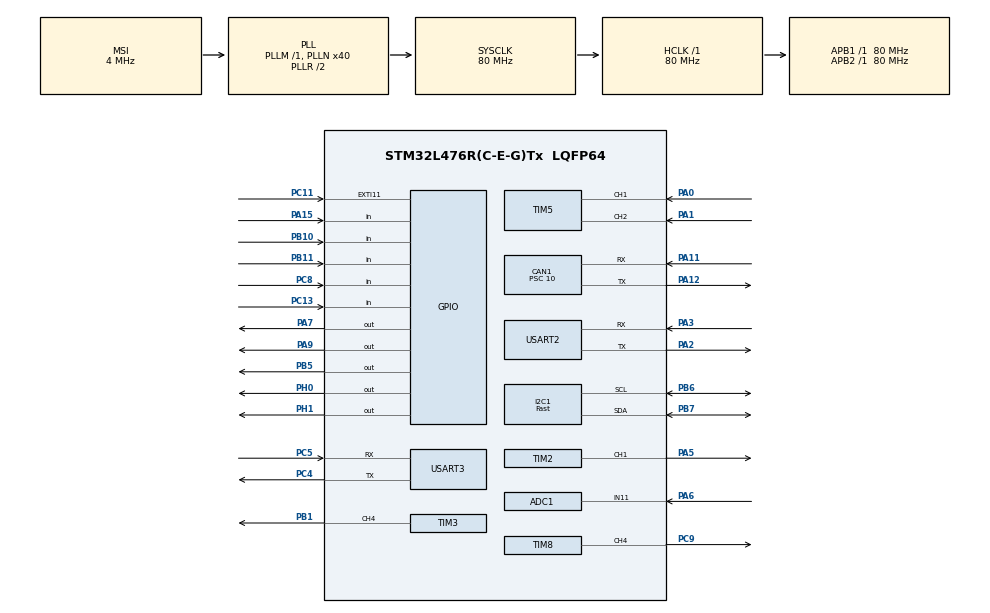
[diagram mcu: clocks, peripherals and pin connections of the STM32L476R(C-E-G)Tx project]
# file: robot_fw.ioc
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ADC1.Channel-0\#ChannelRegularConversion=ADC_CHANNEL_11
ADC1.NbrOfConversionFlag=1
ADC1.OffsetNumber-0\#ChannelRegularConversion=ADC_OFFSET_NONE
ADC1.Rank-0\#ChannelRegularConversion=1
ADC1.SamplingTime-0\#ChannelRegularConversion=ADC_SAMPLETIME_640CYCLES_5
ADC1.master=1
CAN1.BS1=CAN_BS1_13TQ
CAN1.BS2=CAN_BS2_2TQ
CAN1.CalculateBaudRate=500000
CAN1.CalculateTimeBit=2000
CAN1.CalculateTimeQuantum=125.0
CAN1.Mode=CAN_MODE_LOOPBACK
CAN1.Prescaler=10
Dma.Request0=USART2_RX
Dma.Request1=USART2_TX
Dma.USART2_RX.0.Direction=DMA_PERIPH_TO_MEMORY
Dma.USART2_RX.0.Instance=DMA1_Channel6
Dma.USART2_RX.0.MemDataAlignment=DMA_MDATAALIGN_BYTE
Dma.USART2_RX.0.MemInc=DMA_MINC_ENABLE
Dma.USART2_RX.0.Mode=DMA_CIRCULAR
Dma.USART2_RX.0.PeriphDataAlignment=DMA_PDATAALIGN_BYTE
Dma.USART2_RX.0.PeriphInc=DMA_PINC_DISABLE
Dma.USART2_RX.0.Priority=DMA_PRIORITY_VERY_HIGH
Dma.USART2_TX.1.Direction=DMA_MEMORY_TO_PERIPH
Dma.USART2_TX.1.Instance=DMA1_Channel7
Dma.USART2_TX.1.MemDataAlignment=DMA_MDATAALIGN_BYTE
Dma.USART2_TX.1.MemInc=DMA_MINC_ENABLE
Dma.USART2_TX.1.Mode=DMA_NORMAL
Dma.USART2_TX.1.PeriphDataAlignment=DMA_PDATAALIGN_BYTE
Dma.USART2_TX.1.PeriphInc=DMA_PINC_DISABLE
Dma.USART2_TX.1.Priority=DMA_PRIORITY_VERY_HIGH
FREERTOS.Tasks01=defaultTask,24,3000,StartDefaultTask,Default,NULL,Dynamic,NULL,NULL
FREERTOS.configTOTAL_HEAP_SIZE=28000
I2C1.I2C_Speed_Mode=I2C_Fast
I2C1.Timing=0x00F12981
IWDG.Prescaler=IWDG_PRESCALER_32
IWDG.Reload=499
Mcu.Family=STM32L4
Mcu.Name=STM32L476R(C-E-G)Tx
Mcu.Package=LQFP64
NVIC.CAN1_RX0_IRQn=true\:5\:0\:false\:false\:true\:true\:true\:true\:true
NVIC.DMA1_Channel6_IRQn=true\:5\:0\:false\:false\:true\:true\:false\:true\:true
NVIC.DMA1_Channel7_IRQn=true\:5\:0\:false\:false\:true\:true\:false\:true\:true
NVIC.EXTI15_10_IRQn=true\:5\:0\:false\:false\:true\:true\:true\:true\:true
NVIC.PriorityGroup=NVIC_PRIORITYGROUP_4
NVIC.TIM6_DAC_IRQn=true\:5\:0\:false\:false\:true\:true\:true\:true\:true
NVIC.TIM7_IRQn=true\:15\:0\:false\:false\:true\:false\:false\:true\:true
NVIC.TimeBase=TIM7_IRQn
NVIC.TimeBaseIP=TIM7
NVIC.USART2_IRQn=true\:5\:0\:false\:false\:true\:true\:true\:true\:true
NVIC.USART3_IRQn=true\:5\:0\:false\:false\:true\:true\:true\:true\:true
PA0.Signal=S_TIM5_CH1
PA1.Signal=S_TIM5_CH2
PA11.Mode=CAN_Activate
PA11.Signal=CAN1_RX
PA12.Mode=CAN_Activate
PA12.Signal=CAN1_TX
PA15\ (JTDI).GPIO_PuPd=GPIO_PULLUP
PA15\ (JTDI).Signal=GPIO_Input
PA2.Mode=Asynchronous
PA2.Signal=USART2_TX
PA3.Mode=Asynchronous
PA3.Signal=USART2_RX
PA5.Signal=S_TIM2_CH1
PA6.Signal=ADCx_IN11
PA7.Signal=GPIO_Output
PA9.Signal=GPIO_Output
PB1.Signal=S_TIM3_CH4
PB10.Signal=GPIO_Input
PB11.GPIO_PuPd=GPIO_PULLUP
PB11.Signal=GPIO_Input
PB5.Signal=GPIO_Output
PB6.Mode=I2C
PB6.Signal=I2C1_SCL
PB7.Mode=I2C
PB7.Signal=I2C1_SDA
PC11.GPIO_ModeDefaultEXTI=GPIO_MODE_IT_FALLING
PC11.Signal=GPXTI11
PC13.Signal=GPIO_Input
PC4.Mode=Asynchronous
PC4.Signal=USART3_TX
PC5.Mode=Asynchronous
PC5.Signal=USART3_RX
PC8.Signal=GPIO_Input
PC9.Signal=S_TIM8_CH4
PH0-OSC_IN\ (PH0).Signal=GPIO_Output
PH1-OSC_OUT\ (PH1).Signal=GPIO_Output
ProjectManager.HeapSize=0x200
ProjectManager.StackSize=0x400
ProjectManager.TargetToolchain=STM32CubeIDE
RCC.ADCFreq_Value=32000000
RCC.AHBFreq_Value=80000000
RCC.APB1Freq_Value=80000000
RCC.APB1TimFreq_Value=80000000
RCC.APB2Freq_Value=80000000
RCC.APB2TimFreq_Value=80000000
RCC.CortexFreq_Value=80000000
RCC.HCLKFreq_Value=80000000
RCC.HSE_VALUE=8000000
RCC.HSI_VALUE=16000000
RCC.LSE_VALUE=32768
RCC.MSI_VALUE=4000000
RCC.PLLN=40
RCC.PLLSAI1N=16
RCC.SYSCLKFreq_VALUE=80000000
RCC.SYSCLKSource=RCC_SYSCLKSOURCE_PLLCLK
RCC.USBFreq_Value=32000000
RCC.VCOOutputFreq_Value=160000000
SH.ADCx_IN11.0=ADC1_IN11,IN11-Single-Ended
SH.S_TIM2_CH1.0=TIM2_CH1,PWM Generation1 CH1
SH.S_TIM3_CH4.0=TIM3_CH4,PWM Generation4 CH4
SH.S_TIM5_CH1.0=TIM5_CH1,Encoder_Interface
SH.S_TIM5_CH2.0=TIM5_CH2,Encoder_Interface
SH.S_TIM8_CH4.0=TIM8_CH4,PWM Generation4 CH4
TIM2.Channel-PWM\ Generation1\ CH1=TIM_CHANNEL_1
TIM2.Period=3999
TIM3.Channel-PWM\ Generation4\ CH4=TIM_CHANNEL_4
TIM3.Period=999
TIM3.Prescaler=79
TIM5.EncoderMode=TIM_ENCODERMODE_TI12
TIM6.Period=99
TIM6.Prescaler=7999
TIM8.Channel-PWM\ Generation4\ CH4=TIM_CHANNEL_4
TIM8.Period=369
TIM8.Prescaler=79
TIM8.Pulse-PWM\ Generation4\ CH4=185
USART2.VirtualMode-Asynchronous=VM_ASYNC
USART3.VirtualMode-Asynchronous=VM_ASYNC
VP_FREERTOS_VS_CMSIS_V2.Mode=CMSIS_V2
VP_IWDG_VS_IWDG.Mode=IWDG_Activate
VP_SYS_VS_tim7.Mode=TIM7
VP_TIM2_VS_ClockSourceINT.Mode=Internal
VP_TIM6_VS_ClockSourceINT.Mode=Enable_Timer
board=custom

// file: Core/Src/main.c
/* USER CODE BEGIN Header */
/**
  ******************************************************************************
  * @file           : main.c
  * @brief          : Main program body
  ******************************************************************************
  * @attention
  *
  * Copyright (c) 2026 STMicroelectronics.
  * All rights reserved.
  *
  * This software is licensed under terms that can be found in the LICENSE file
  * in the root directory of this software component.
  * If no LICENSE file comes with this software, it is provided AS-IS.
  *
  ******************************************************************************
  */
/* USER CODE END Header */
#include "main.h"
#include "cmsis_os.h"

/* USER CODE BEGIN Includes */
#include <stdio.h>
#include "treuil.h"
#include "board.h"
#include "batterie.h"
#include "signal.h"
#include "can_bus.h"
#include "plafond.h"

#include <rcl/rcl.h>
#include <rclc/rclc.h>
#include <rmw_microros/rmw_microros.h>
#include <uxr/client/transport.h>
#include <std_msgs/msg/int32.h>

#include <rclc/executor.h>
#include <std_msgs/msg/float32.h>
#include <std_msgs/msg/empty.h>

/* USER CODE END Includes */

ADC_HandleTypeDef hadc1;

CAN_HandleTypeDef hcan1;

I2C_HandleTypeDef hi2c1;

IWDG_HandleTypeDef hiwdg;

TIM_HandleTypeDef htim2;
TIM_HandleTypeDef htim3;
TIM_HandleTypeDef htim5;
TIM_HandleTypeDef htim6;
TIM_HandleTypeDef htim8;

UART_HandleTypeDef huart2;
UART_HandleTypeDef huart3;
DMA_HandleTypeDef hdma_usart2_rx;
DMA_HandleTypeDef hdma_usart2_tx;

/* Definitions for defaultTask */
osThreadId_t defaultTaskHandle;
const osThreadAttr_t defaultTask_attributes = {
  .name = "defaultTask",
  .stack_size = 3000 * 4,
  .priority = (osPriority_t) osPriorityNormal,
};
/* USER CODE BEGIN PV */
volatile uint32_t tours = 0;

/* USER CODE END PV */

void SystemClock_Config(void);
static void MX_GPIO_Init(void);
static void MX_DMA_Init(void);
static void MX_USART2_UART_Init(void);
static void MX_TIM2_Init(void);
static void MX_TIM5_Init(void);
static void MX_TIM6_Init(void);
static void MX_ADC1_Init(void);
static void MX_TIM3_Init(void);
static void MX_TIM8_Init(void);
static void MX_IWDG_Init(void);
static void MX_CAN1_Init(void);
static void MX_I2C1_Init(void);
static void MX_USART3_UART_Init(void);
void StartDefaultTask(void *argument);

/* USER CODE BEGIN 0 */
extern volatile uint32_t nb_maj;

extern volatile int plafond_err_init;
extern volatile uint32_t plafond_nb_irq;
extern volatile int plafond_statut;

static void envoyer_position(void){
	char buf[32];
	int n = snprintf(buf, sizeof(buf), "pos=%ld\r\n", (long)treuil_position());
	HAL_UART_Transmit(&huart2, (uint8_t *)buf, n, 100);
}

static void cb_cible(const void *m)
{
  const std_msgs__msg__Int32 *c = (const std_msgs__msg__Int32 *)m;
  treuil_aller_a(c->data);
}

static void cb_acquitter(const void *m)
{
  (void)m;
  treuil_acquitter();
}

bool cubemx_transport_open(struct uxrCustomTransport *transport);
bool cubemx_transport_close(struct uxrCustomTransport *transport);
size_t cubemx_transport_write(struct uxrCustomTransport *transport, const uint8_t *buf, size_t len, uint8_t *err);
size_t cubemx_transport_read(struct uxrCustomTransport *transport, uint8_t *buf, size_t len, int timeout, uint8_t *err);

void *microros_allocate(size_t size, void *state);
void microros_deallocate(void *pointer, void *state);
void *microros_reallocate(void *pointer, size_t size, void *state);
void *microros_zero_allocate(size_t number_of_elements, size_t size_of_element, void *state);

/* USER CODE END 0 */

int main(void)
{

  /* MCU Configuration--------------------------------------------------------*/

  /* Reset of all peripherals, Initializes the Flash interface and the Systick. */
  HAL_Init();

  /* Configure the system clock */
  SystemClock_Config();

  /* Initialize all configured peripherals */
  MX_GPIO_Init();
  MX_DMA_Init();
  MX_USART2_UART_Init();
  MX_TIM2_Init();
  MX_TIM5_Init();
  MX_TIM6_Init();
  MX_ADC1_Init();
  MX_TIM3_Init();
  MX_TIM8_Init();
  MX_IWDG_Init();
  MX_CAN1_Init();
  MX_I2C1_Init();
  MX_USART3_UART_Init();
  /* USER CODE BEGIN 2 */
  treuil_init();
  batterie_init();
  signal_init();
  can_init();
  plafond_init();

  HAL_TIM_Base_Start_IT(&htim6);

  /* USER CODE END 2 */

  /* Init scheduler */
  osKernelInitialize();

  /* Create the thread(s) */
  /* creation of defaultTask */
  defaultTaskHandle = osThreadNew(StartDefaultTask, NULL, &defaultTask_attributes);

  /* USER CODE BEGIN RTOS_THREADS */

  // tache non creee : manque de memoire, on fait sonner le buzzer
  if (defaultTaskHandle == NULL) signal_buzzer(1);
  /* add threads, ... */
  /* USER CODE END RTOS_THREADS */

  /* Start scheduler */
  osKernelStart();

  /* We should never get here as control is now taken by the scheduler */

  /* Infinite loop */
  while (1)
  {

    /* USER CODE BEGIN 3 */
	    HAL_IWDG_Refresh(&hiwdg);

	    // une seule commande au premier tour
	    static int lance = 0;
	    if (!lance) {
	      treuil_aller_a(15000);
	      lance = 1;
	    }

	    char buf[48];
	    int n = snprintf(buf, sizeof(buf), "pos=%ld err=%d d=%u\r\n",
	                     (long)treuil_position(), (int)treuil_erreur(),
	                     plafond_distance_mm());
	    HAL_UART_Transmit(&huart2, (uint8_t *)buf, n, 100);
	    HAL_Delay(250);
	  }
  /* USER CODE END 3 */
}

void SystemClock_Config(void)
{
  RCC_OscInitTypeDef RCC_OscInitStruct = {0};
  RCC_ClkInitTypeDef RCC_ClkInitStruct = {0};

  /** Configure the main internal regulator output voltage
  */
  if (HAL_PWREx_ControlVoltageScaling(PWR_REGULATOR_VOLTAGE_SCALE1) != HAL_OK)
  {
    Error_Handler();
  }

  /** Initializes the RCC Oscillators according to the specified parameters
  * in the RCC_OscInitTypeDef structure.
  */
  RCC_OscInitStruct.OscillatorType = RCC_OSCILLATORTYPE_LSI|RCC_OSCILLATORTYPE_MSI;
  RCC_OscInitStruct.LSIState = RCC_LSI_ON;
  RCC_OscInitStruct.MSIState = RCC_MSI_ON;
  RCC_OscInitStruct.MSICalibrationValue = 0;
  RCC_OscInitStruct.MSIClockRange = RCC_MSIRANGE_6;
  RCC_OscInitStruct.PLL.PLLState = RCC_PLL_ON;
  RCC_OscInitStruct.PLL.PLLSource = RCC_PLLSOURCE_MSI;
  RCC_OscInitStruct.PLL.PLLM = 1;
  RCC_OscInitStruct.PLL.PLLN = 40;
  RCC_OscInitStruct.PLL.PLLP = RCC_PLLP_DIV7;
  RCC_OscInitStruct.PLL.PLLQ = RCC_PLLQ_DIV2;
  RCC_OscInitStruct.PLL.PLLR = RCC_PLLR_DIV2;
  if (HAL_RCC_OscConfig(&RCC_OscInitStruct) != HAL_OK)
  {
    Error_Handler();
  }

  /** Initializes the CPU, AHB and APB buses clocks
  */
  RCC_ClkInitStruct.ClockType = RCC_CLOCKTYPE_HCLK|RCC_CLOCKTYPE_SYSCLK
                              |RCC_CLOCKTYPE_PCLK1|RCC_CLOCKTYPE_PCLK2;
  RCC_ClkInitStruct.SYSCLKSource = RCC_SYSCLKSOURCE_PLLCLK;
  RCC_ClkInitStruct.AHBCLKDivider = RCC_SYSCLK_DIV1;
  RCC_ClkInitStruct.APB1CLKDivider = RCC_HCLK_DIV1;
  RCC_ClkInitStruct.APB2CLKDivider = RCC_HCLK_DIV1;

  if (HAL_RCC_ClockConfig(&RCC_ClkInitStruct, FLASH_LATENCY_4) != HAL_OK)
  {
    Error_Handler();
  }
}

static void MX_ADC1_Init(void)
{

  ADC_MultiModeTypeDef multimode = {0};
  ADC_ChannelConfTypeDef sConfig = {0};

  /** Common config
  */
  hadc1.Instance = ADC1;
  hadc1.Init.ClockPrescaler = ADC_CLOCK_ASYNC_DIV1;
  hadc1.Init.Resolution = ADC_RESOLUTION_12B;
  hadc1.Init.DataAlign = ADC_DATAALIGN_RIGHT;
  hadc1.Init.ScanConvMode = ADC_SCAN_DISABLE;
  hadc1.Init.EOCSelection = ADC_EOC_SINGLE_CONV;
  hadc1.Init.LowPowerAutoWait = DISABLE;
  hadc1.Init.ContinuousConvMode = DISABLE;
  hadc1.Init.NbrOfConversion = 1;
  hadc1.Init.DiscontinuousConvMode = DISABLE;
  hadc1.Init.ExternalTrigConv = ADC_SOFTWARE_START;
  hadc1.Init.ExternalTrigConvEdge = ADC_EXTERNALTRIGCONVEDGE_NONE;
  hadc1.Init.DMAContinuousRequests = DISABLE;
  hadc1.Init.Overrun = ADC_OVR_DATA_PRESERVED;
  hadc1.Init.OversamplingMode = DISABLE;
  if (HAL_ADC_Init(&hadc1) != HAL_OK)
  {
    Error_Handler();
  }

  /** Configure the ADC multi-mode
  */
  multimode.Mode = ADC_MODE_INDEPENDENT;
  if (HAL_ADCEx_MultiModeConfigChannel(&hadc1, &multimode) != HAL_OK)
  {
    Error_Handler();
  }

  /** Configure Regular Channel
  */
  sConfig.Channel = ADC_CHANNEL_11;
  sConfig.Rank = ADC_REGULAR_RANK_1;
  sConfig.SamplingTime = ADC_SAMPLETIME_640CYCLES_5;
  sConfig.SingleDiff = ADC_SINGLE_ENDED;
  sConfig.OffsetNumber = ADC_OFFSET_NONE;
  sConfig.Offset = 0;
  if (HAL_ADC_ConfigChannel(&hadc1, &sConfig) != HAL_OK)
  {
    Error_Handler();
  }

}

static void MX_CAN1_Init(void)
{

  hcan1.Instance = CAN1;
  hcan1.Init.Prescaler = 10;
  hcan1.Init.Mode = CAN_MODE_LOOPBACK;
  hcan1.Init.SyncJumpWidth = CAN_SJW_1TQ;
  hcan1.Init.TimeSeg1 = CAN_BS1_13TQ;
  hcan1.Init.TimeSeg2 = CAN_BS2_2TQ;
  hcan1.Init.TimeTriggeredMode = DISABLE;
  hcan1.Init.AutoBusOff = DISABLE;
  hcan1.Init.AutoWakeUp = DISABLE;
  hcan1.Init.AutoRetransmission = DISABLE;
  hcan1.Init.ReceiveFifoLocked = DISABLE;
  hcan1.Init.TransmitFifoPriority = DISABLE;
  if (HAL_CAN_Init(&hcan1) != HAL_OK)
  {
    Error_Handler();
  }

}

static void MX_I2C1_Init(void)
{

  hi2c1.Instance = I2C1;
  hi2c1.Init.Timing = 0x00F12981;
  hi2c1.Init.OwnAddress1 = 0;
  hi2c1.Init.AddressingMode = I2C_ADDRESSINGMODE_7BIT;
  hi2c1.Init.DualAddressMode = I2C_DUALADDRESS_DISABLE;
  hi2c1.Init.OwnAddress2 = 0;
  hi2c1.Init.OwnAddress2Masks = I2C_OA2_NOMASK;
  hi2c1.Init.GeneralCallMode = I2C_GENERALCALL_DISABLE;
  hi2c1.Init.NoStretchMode = I2C_NOSTRETCH_DISABLE;
  if (HAL_I2C_Init(&hi2c1) != HAL_OK)
  {
    Error_Handler();
  }

  /** Configure Analogue filter
  */
  if (HAL_I2CEx_ConfigAnalogFilter(&hi2c1, I2C_ANALOGFILTER_ENABLE) != HAL_OK)
  {
    Error_Handler();
  }

  /** Configure Digital filter
  */
  if (HAL_I2CEx_ConfigDigitalFilter(&hi2c1, 0) != HAL_OK)
  {
    Error_Handler();
  }

}

static void MX_IWDG_Init(void)
{

  hiwdg.Instance = IWDG;
  hiwdg.Init.Prescaler = IWDG_PRESCALER_32;
  hiwdg.Init.Window = 4095;
  hiwdg.Init.Reload = 499;
  if (HAL_IWDG_Init(&hiwdg) != HAL_OK)
  {
    Error_Handler();
  }

}

static void MX_TIM2_Init(void)
{

  TIM_ClockConfigTypeDef sClockSourceConfig = {0};
  TIM_MasterConfigTypeDef sMasterConfig = {0};
  TIM_OC_InitTypeDef sConfigOC = {0};

  htim2.Instance = TIM2;
  htim2.Init.Prescaler = 0;
  htim2.Init.CounterMode = TIM_COUNTERMODE_UP;
  htim2.Init.Period = 3999;
  htim2.Init.ClockDivision = TIM_CLOCKDIVISION_DIV1;
  htim2.Init.AutoReloadPreload = TIM_AUTORELOAD_PRELOAD_DISABLE;
  if (HAL_TIM_Base_Init(&htim2) != HAL_OK)
  {
    Error_Handler();
  }
  sClockSourceConfig.ClockSource = TIM_CLOCKSOURCE_INTERNAL;
  if (HAL_TIM_ConfigClockSource(&htim2, &sClockSourceConfig) != HAL_OK)
  {
    Error_Handler();
  }
  if (HAL_TIM_PWM_Init(&htim2) != HAL_OK)
  {
    Error_Handler();
  }
  sMasterConfig.MasterOutputTrigger = TIM_TRGO_RESET;
  sMasterConfig.MasterSlaveMode = TIM_MASTERSLAVEMODE_DISABLE;
  if (HAL_TIMEx_MasterConfigSynchronization(&htim2, &sMasterConfig) != HAL_OK)
  {
    Error_Handler();
  }
  sConfigOC.OCMode = TIM_OCMODE_PWM1;
  sConfigOC.Pulse = 0;
  sConfigOC.OCPolarity = TIM_OCPOLARITY_HIGH;
  sConfigOC.OCFastMode = TIM_OCFAST_DISABLE;
  if (HAL_TIM_PWM_ConfigChannel(&htim2, &sConfigOC, TIM_CHANNEL_1) != HAL_OK)
  {
    Error_Handler();
  }
  HAL_TIM_MspPostInit(&htim2);

}

static void MX_TIM3_Init(void)
{

  TIM_MasterConfigTypeDef sMasterConfig = {0};
  TIM_OC_InitTypeDef sConfigOC = {0};

  htim3.Instance = TIM3;
  htim3.Init.Prescaler = 79;
  htim3.Init.CounterMode = TIM_COUNTERMODE_UP;
  htim3.Init.Period = 999;
  htim3.Init.ClockDivision = TIM_CLOCKDIVISION_DIV1;
  htim3.Init.AutoReloadPreload = TIM_AUTORELOAD_PRELOAD_DISABLE;
  if (HAL_TIM_PWM_Init(&htim3) != HAL_OK)
  {
    Error_Handler();
  }
  sMasterConfig.MasterOutputTrigger = TIM_TRGO_RESET;
  sMasterConfig.MasterSlaveMode = TIM_MASTERSLAVEMODE_DISABLE;
  if (HAL_TIMEx_MasterConfigSynchronization(&htim3, &sMasterConfig) != HAL_OK)
  {
    Error_Handler();
  }
  sConfigOC.OCMode = TIM_OCMODE_PWM1;
  sConfigOC.Pulse = 0;
  sConfigOC.OCPolarity = TIM_OCPOLARITY_HIGH;
  sConfigOC.OCFastMode = TIM_OCFAST_DISABLE;
  if (HAL_TIM_PWM_ConfigChannel(&htim3, &sConfigOC, TIM_CHANNEL_4) != HAL_OK)
  {
    Error_Handler();
  }
  HAL_TIM_MspPostInit(&htim3);

}

static void MX_TIM5_Init(void)
{

  TIM_Encoder_InitTypeDef sConfig = {0};
  TIM_MasterConfigTypeDef sMasterConfig = {0};

  htim5.Instance = TIM5;
  htim5.Init.Prescaler = 0;
  htim5.Init.CounterMode = TIM_COUNTERMODE_UP;
  htim5.Init.Period = 4294967295;
  htim5.Init.ClockDivision = TIM_CLOCKDIVISION_DIV1;
  htim5.Init.AutoReloadPreload = TIM_AUTORELOAD_PRELOAD_DISABLE;
  sConfig.EncoderMode = TIM_ENCODERMODE_TI12;
  sConfig.IC1Polarity = TIM_ICPOLARITY_RISING;
  sConfig.IC1Selection = TIM_ICSELECTION_DIRECTTI;
  sConfig.IC1Prescaler = TIM_ICPSC_DIV1;
  sConfig.IC1Filter = 0;
  sConfig.IC2Polarity = TIM_ICPOLARITY_RISING;
  sConfig.IC2Selection = TIM_ICSELECTION_DIRECTTI;
  sConfig.IC2Prescaler = TIM_ICPSC_DIV1;
  sConfig.IC2Filter = 0;
  if (HAL_TIM_Encoder_Init(&htim5, &sConfig) != HAL_OK)
  {
    Error_Handler();
  }
  sMasterConfig.MasterOutputTrigger = TIM_TRGO_RESET;
  sMasterConfig.MasterSlaveMode = TIM_MASTERSLAVEMODE_DISABLE;
  if (HAL_TIMEx_MasterConfigSynchronization(&htim5, &sMasterConfig) != HAL_OK)
  {
    Error_Handler();
  }

}

static void MX_TIM6_Init(void)
{

  TIM_MasterConfigTypeDef sMasterConfig = {0};

  htim6.Instance = TIM6;
  htim6.Init.Prescaler = 7999;
  htim6.Init.CounterMode = TIM_COUNTERMODE_UP;
  htim6.Init.Period = 99;
  htim6.Init.AutoReloadPreload = TIM_AUTORELOAD_PRELOAD_DISABLE;
  if (HAL_TIM_Base_Init(&htim6) != HAL_OK)
  {
    Error_Handler();
  }
  sMasterConfig.MasterOutputTrigger = TIM_TRGO_RESET;
  sMasterConfig.MasterSlaveMode = TIM_MASTERSLAVEMODE_DISABLE;
  if (HAL_TIMEx_MasterConfigSynchronization(&htim6, &sMasterConfig) != HAL_OK)
  {
    Error_Handler();
  }

}

static void MX_TIM8_Init(void)
{

  TIM_MasterConfigTypeDef sMasterConfig = {0};
  TIM_OC_InitTypeDef sConfigOC = {0};
  TIM_BreakDeadTimeConfigTypeDef sBreakDeadTimeConfig = {0};

  htim8.Instance = TIM8;
  htim8.Init.Prescaler = 79;
  htim8.Init.CounterMode = TIM_COUNTERMODE_UP;
  htim8.Init.Period = 369;
  htim8.Init.ClockDivision = TIM_CLOCKDIVISION_DIV1;
  htim8.Init.RepetitionCounter = 0;
  htim8.Init.AutoReloadPreload = TIM_AUTORELOAD_PRELOAD_DISABLE;
  if (HAL_TIM_PWM_Init(&htim8) != HAL_OK)
  {
    Error_Handler();
  }
  sMasterConfig.MasterOutputTrigger = TIM_TRGO_RESET;
  sMasterConfig.MasterOutputTrigger2 = TIM_TRGO2_RESET;
  sMasterConfig.MasterSlaveMode = TIM_MASTERSLAVEMODE_DISABLE;
  if (HAL_TIMEx_MasterConfigSynchronization(&htim8, &sMasterConfig) != HAL_OK)
  {
    Error_Handler();
  }
  sConfigOC.OCMode = TIM_OCMODE_PWM1;
  sConfigOC.Pulse = 185;
  sConfigOC.OCPolarity = TIM_OCPOLARITY_HIGH;
  sConfigOC.OCFastMode = TIM_OCFAST_DISABLE;
  sConfigOC.OCIdleState = TIM_OCIDLESTATE_RESET;
  sConfigOC.OCNIdleState = TIM_OCNIDLESTATE_RESET;
  if (HAL_TIM_PWM_ConfigChannel(&htim8, &sConfigOC, TIM_CHANNEL_4) != HAL_OK)
  {
    Error_Handler();
  }
  sBreakDeadTimeConfig.OffStateRunMode = TIM_OSSR_DISABLE;
  sBreakDeadTimeConfig.OffStateIDLEMode = TIM_OSSI_DISABLE;
  sBreakDeadTimeConfig.LockLevel = TIM_LOCKLEVEL_OFF;
  sBreakDeadTimeConfig.DeadTime = 0;
  sBreakDeadTimeConfig.BreakState = TIM_BREAK_DISABLE;
  sBreakDeadTimeConfig.BreakPolarity = TIM_BREAKPOLARITY_HIGH;
  sBreakDeadTimeConfig.BreakFilter = 0;
  sBreakDeadTimeConfig.Break2State = TIM_BREAK2_DISABLE;
  sBreakDeadTimeConfig.Break2Polarity = TIM_BREAK2POLARITY_HIGH;
  sBreakDeadTimeConfig.Break2Filter = 0;
  sBreakDeadTimeConfig.AutomaticOutput = TIM_AUTOMATICOUTPUT_DISABLE;
  if (HAL_TIMEx_ConfigBreakDeadTime(&htim8, &sBreakDeadTimeConfig) != HAL_OK)
  {
    Error_Handler();
  }
  HAL_TIM_MspPostInit(&htim8);

}

static void MX_USART2_UART_Init(void)
{

  huart2.Instance = USART2;
  huart2.Init.BaudRate = 115200;
  huart2.Init.WordLength = UART_WORDLENGTH_8B;
  huart2.Init.StopBits = UART_STOPBITS_1;
  huart2.Init.Parity = UART_PARITY_NONE;
  huart2.Init.Mode = UART_MODE_TX_RX;
  huart2.Init.HwFlowCtl = UART_HWCONTROL_NONE;
  huart2.Init.OverSampling = UART_OVERSAMPLING_16;
  huart2.Init.OneBitSampling = UART_ONE_BIT_SAMPLE_DISABLE;
  huart2.AdvancedInit.AdvFeatureInit = UART_ADVFEATURE_NO_INIT;
  if (HAL_UART_Init(&huart2) != HAL_OK)
  {
    Error_Handler();
  }

}

static void MX_USART3_UART_Init(void)
{

  huart3.Instance = USART3;
  huart3.Init.BaudRate = 115200;
  huart3.Init.WordLength = UART_WORDLENGTH_8B;
  huart3.Init.StopBits = UART_STOPBITS_1;
  huart3.Init.Parity = UART_PARITY_NONE;
  huart3.Init.Mode = UART_MODE_TX_RX;
  huart3.Init.HwFlowCtl = UART_HWCONTROL_NONE;
  huart3.Init.OverSampling = UART_OVERSAMPLING_16;
  huart3.Init.OneBitSampling = UART_ONE_BIT_SAMPLE_DISABLE;
  huart3.AdvancedInit.AdvFeatureInit = UART_ADVFEATURE_NO_INIT;
  if (HAL_UART_Init(&huart3) != HAL_OK)
  {
    Error_Handler();
  }

}

static void MX_DMA_Init(void)
{

  /* DMA controller clock enable */
  __HAL_RCC_DMA1_CLK_ENABLE();

  /* DMA interrupt init */
  /* DMA1_Channel6_IRQn interrupt configuration */
  HAL_NVIC_SetPriority(DMA1_Channel6_IRQn, 5, 0);
  HAL_NVIC_EnableIRQ(DMA1_Channel6_IRQn);
  /* DMA1_Channel7_IRQn interrupt configuration */
  HAL_NVIC_SetPriority(DMA1_Channel7_IRQn, 5, 0);
  HAL_NVIC_EnableIRQ(DMA1_Channel7_IRQn);

}

static void MX_GPIO_Init(void)
{
  GPIO_InitTypeDef GPIO_InitStruct = {0};

  /* GPIO Ports Clock Enable */
  __HAL_RCC_GPIOC_CLK_ENABLE();
  __HAL_RCC_GPIOH_CLK_ENABLE();
  __HAL_RCC_GPIOA_CLK_ENABLE();
  __HAL_RCC_GPIOB_CLK_ENABLE();

  /*Configure GPIO pin Output Level */
  HAL_GPIO_WritePin(GPIOH, GPIO_PIN_0|GPIO_PIN_1, GPIO_PIN_RESET);

  /*Configure GPIO pin Output Level */
  HAL_GPIO_WritePin(GPIOA, GPIO_PIN_7|GPIO_PIN_9, GPIO_PIN_RESET);

  /*Configure GPIO pin Output Level */
  HAL_GPIO_WritePin(GPIOB, GPIO_PIN_5, GPIO_PIN_RESET);

  /*Configure GPIO pins : PC13 PC8 */
  GPIO_InitStruct.Pin = GPIO_PIN_13|GPIO_PIN_8;
  GPIO_InitStruct.Mode = GPIO_MODE_INPUT;
  GPIO_InitStruct.Pull = GPIO_NOPULL;
  HAL_GPIO_Init(GPIOC, &GPIO_InitStruct);

  /*Configure GPIO pins : PH0 PH1 */
  GPIO_InitStruct.Pin = GPIO_PIN_0|GPIO_PIN_1;
  GPIO_InitStruct.Mode = GPIO_MODE_OUTPUT_PP;
  GPIO_InitStruct.Pull = GPIO_NOPULL;
  GPIO_InitStruct.Speed = GPIO_SPEED_FREQ_LOW;
  HAL_GPIO_Init(GPIOH, &GPIO_InitStruct);

  /*Configure GPIO pins : PA7 PA9 */
  GPIO_InitStruct.Pin = GPIO_PIN_7|GPIO_PIN_9;
  GPIO_InitStruct.Mode = GPIO_MODE_OUTPUT_PP;
  GPIO_InitStruct.Pull = GPIO_NOPULL;
  GPIO_InitStruct.Speed = GPIO_SPEED_FREQ_LOW;
  HAL_GPIO_Init(GPIOA, &GPIO_InitStruct);

  /*Configure GPIO pin : PB10 */
  GPIO_InitStruct.Pin = GPIO_PIN_10;
  GPIO_InitStruct.Mode = GPIO_MODE_INPUT;
  GPIO_InitStruct.Pull = GPIO_NOPULL;
  HAL_GPIO_Init(GPIOB, &GPIO_InitStruct);

  /*Configure GPIO pin : PB11 */
  GPIO_InitStruct.Pin = GPIO_PIN_11;
  GPIO_InitStruct.Mode = GPIO_MODE_INPUT;
  GPIO_InitStruct.Pull = GPIO_PULLUP;
  HAL_GPIO_Init(GPIOB, &GPIO_InitStruct);

  /*Configure GPIO pin : PA15 */
  GPIO_InitStruct.Pin = GPIO_PIN_15;
  GPIO_InitStruct.Mode = GPIO_MODE_INPUT;
  GPIO_InitStruct.Pull = GPIO_PULLUP;
  HAL_GPIO_Init(GPIOA, &GPIO_InitStruct);

  /*Configure GPIO pin : PC11 */
  GPIO_InitStruct.Pin = GPIO_PIN_11;
  GPIO_InitStruct.Mode = GPIO_MODE_IT_FALLING;
  GPIO_InitStruct.Pull = GPIO_NOPULL;
  HAL_GPIO_Init(GPIOC, &GPIO_InitStruct);

  /*Configure GPIO pin : PB5 */
  GPIO_InitStruct.Pin = GPIO_PIN_5;
  GPIO_InitStruct.Mode = GPIO_MODE_OUTPUT_PP;
  GPIO_InitStruct.Pull = GPIO_NOPULL;
  GPIO_InitStruct.Speed = GPIO_SPEED_FREQ_LOW;
  HAL_GPIO_Init(GPIOB, &GPIO_InitStruct);

  /* EXTI interrupt init*/
  HAL_NVIC_SetPriority(EXTI15_10_IRQn, 5, 0);
  HAL_NVIC_EnableIRQ(EXTI15_10_IRQn);

}

void StartDefaultTask(void *argument)
{
  /* USER CODE BEGIN 5 */
	  // transport micro-ros sur usart2 (usb du st-link)
	  rmw_uros_set_custom_transport(true, (void *)&huart2,
	      cubemx_transport_open, cubemx_transport_close,
	      cubemx_transport_write, cubemx_transport_read);

	  // allocateurs freertos
	  rcl_allocator_t a = rcutils_get_zero_initialized_allocator();
	  a.allocate = microros_allocate;
	  a.deallocate = microros_deallocate;
	  a.reallocate = microros_reallocate;
	  a.zero_allocate = microros_zero_allocate;
	  rcutils_set_default_allocator(&a);

	  // on attend l'agent sans laisser le watchdog redemarrer la carte
	  while (rmw_uros_ping_agent(100, 1) != RMW_RET_OK) {
	    HAL_IWDG_Refresh(&hiwdg);
	    signal_feu(!HAL_GPIO_ReadPin(GPIOA, GPIO_PIN_7));  // led qui clignote = en attente
	  }
	  signal_feu(1);  // led fixe = connecte

	  rcl_allocator_t allocator = rcl_get_default_allocator();
	  rclc_support_t support;
	  rcl_node_t node;

	  rclc_support_init(&support, 0, NULL, &allocator);
	  HAL_IWDG_Refresh(&hiwdg);
	  rclc_node_init_default(&node, "robot_fw", "", &support);
	  HAL_IWDG_Refresh(&hiwdg);

	  // publications
	  rcl_publisher_t pub_pos, pub_err, pub_batt, pub_plafond;
	  rclc_publisher_init_best_effort(&pub_pos, &node,
	      ROSIDL_GET_MSG_TYPE_SUPPORT(std_msgs, msg, Int32), "treuil/position");
	  rclc_publisher_init_default(&pub_err, &node,
	      ROSIDL_GET_MSG_TYPE_SUPPORT(std_msgs, msg, Int32), "treuil/erreur");
	  rclc_publisher_init_default(&pub_batt, &node,
	      ROSIDL_GET_MSG_TYPE_SUPPORT(std_msgs, msg, Float32), "batterie/tension");
	  rclc_publisher_init_default(&pub_plafond, &node,
	      ROSIDL_GET_MSG_TYPE_SUPPORT(std_msgs, msg, Int32), "plafond/distance");
	  HAL_IWDG_Refresh(&hiwdg);

	  // abonnements
	  rcl_subscription_t sub_cible, sub_acq;
	  std_msgs__msg__Int32 msg_cible;
	  std_msgs__msg__Empty msg_acq;
	  rclc_subscription_init_default(&sub_cible, &node,
	      ROSIDL_GET_MSG_TYPE_SUPPORT(std_msgs, msg, Int32), "treuil/cible");
	  rclc_subscription_init_default(&sub_acq, &node,
	      ROSIDL_GET_MSG_TYPE_SUPPORT(std_msgs, msg, Empty), "treuil/acquitter");
	  HAL_IWDG_Refresh(&hiwdg);

	  // l'executor appelle les callbacks quand un message arrive
	  rclc_executor_t ex = rclc_executor_get_zero_initialized_executor();
	  rclc_executor_init(&ex, &support.context, 2, &allocator);
	  rclc_executor_add_subscription(&ex, &sub_cible, &msg_cible, &cb_cible, ON_NEW_DATA);
	  rclc_executor_add_subscription(&ex, &sub_acq, &msg_acq, &cb_acquitter, ON_NEW_DATA);

	  std_msgs__msg__Int32 m_int;
	  std_msgs__msg__Float32 m_float;
	  uint32_t n = 0;

	  for (;;) {
	    HAL_IWDG_Refresh(&hiwdg);
	    rclc_executor_spin_some(&ex, RCL_MS_TO_NS(10));

	    // publication toutes les 100 ms
	    if (++n >= 10) {
	      n = 0;
	      m_int.data = treuil_position();    (void)rcl_publish(&pub_pos, &m_int, NULL);
	      m_int.data = treuil_erreur();      (void)rcl_publish(&pub_err, &m_int, NULL);
	      m_int.data = plafond_distance_mm(); (void)rcl_publish(&pub_plafond, &m_int, NULL);
	      m_float.data = batterie_tension(); (void)rcl_publish(&pub_batt, &m_float, NULL);
	    }
	    osDelay(1);
	  }
  /* USER CODE END 5 */
}

void HAL_TIM_PeriodElapsedCallback(TIM_HandleTypeDef *htim)
{
  if (htim->Instance == TIM7)
  {
    HAL_IncTick();
  }
  /* USER CODE BEGIN Callback 1 */

  if (htim->Instance == TIM6) treuil_maj();

  /* USER CODE END Callback 1 */
}

void Error_Handler(void)
{
  __disable_irq();
  while (1)
  {
  }
}
